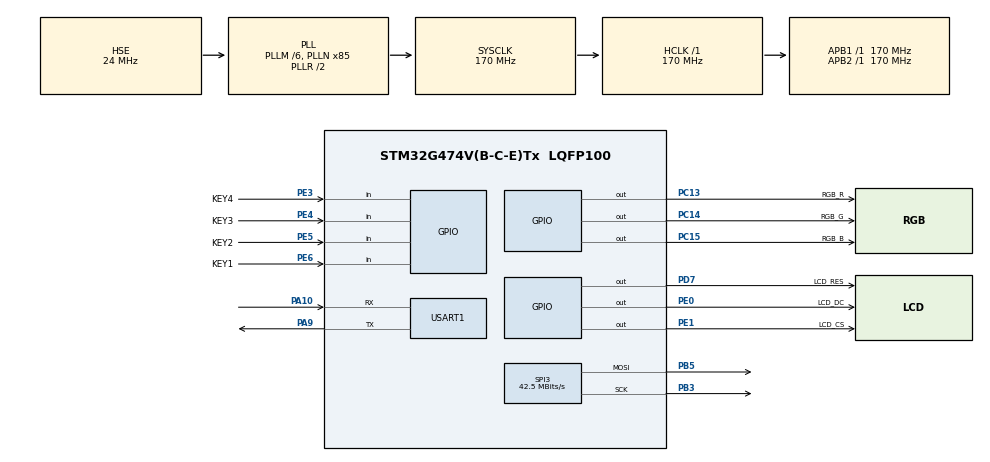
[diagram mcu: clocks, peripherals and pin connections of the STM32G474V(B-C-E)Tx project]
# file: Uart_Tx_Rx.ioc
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Dma.Request0=SPI3_TX
Dma.Request1=USART1_RX
Dma.Request2=USART1_TX
Dma.SPI3_TX.0.Direction=DMA_MEMORY_TO_PERIPH
Dma.SPI3_TX.0.EventEnable=DISABLE
Dma.SPI3_TX.0.Instance=DMA1_Channel3
Dma.SPI3_TX.0.MemDataAlignment=DMA_MDATAALIGN_BYTE
Dma.SPI3_TX.0.MemInc=DMA_MINC_ENABLE
Dma.SPI3_TX.0.Mode=DMA_NORMAL
Dma.SPI3_TX.0.PeriphDataAlignment=DMA_PDATAALIGN_BYTE
Dma.SPI3_TX.0.PeriphInc=DMA_PINC_DISABLE
Dma.SPI3_TX.0.Polarity=HAL_DMAMUX_REQ_GEN_RISING
Dma.SPI3_TX.0.Priority=DMA_PRIORITY_LOW
Dma.SPI3_TX.0.RequestNumber=1
Dma.SPI3_TX.0.SignalID=NONE
Dma.SPI3_TX.0.SyncEnable=DISABLE
Dma.SPI3_TX.0.SyncPolarity=HAL_DMAMUX_SYNC_NO_EVENT
Dma.SPI3_TX.0.SyncRequestNumber=1
Dma.SPI3_TX.0.SyncSignalID=NONE
Dma.USART1_RX.1.Direction=DMA_PERIPH_TO_MEMORY
Dma.USART1_RX.1.EventEnable=DISABLE
Dma.USART1_RX.1.Instance=DMA1_Channel1
Dma.USART1_RX.1.MemDataAlignment=DMA_MDATAALIGN_BYTE
Dma.USART1_RX.1.MemInc=DMA_MINC_ENABLE
Dma.USART1_RX.1.Mode=DMA_NORMAL
Dma.USART1_RX.1.PeriphDataAlignment=DMA_PDATAALIGN_BYTE
Dma.USART1_RX.1.PeriphInc=DMA_PINC_DISABLE
Dma.USART1_RX.1.Polarity=HAL_DMAMUX_REQ_GEN_RISING
Dma.USART1_RX.1.Priority=DMA_PRIORITY_LOW
Dma.USART1_RX.1.RequestNumber=1
Dma.USART1_RX.1.SignalID=NONE
Dma.USART1_RX.1.SyncEnable=DISABLE
Dma.USART1_RX.1.SyncPolarity=HAL_DMAMUX_SYNC_NO_EVENT
Dma.USART1_RX.1.SyncRequestNumber=1
Dma.USART1_RX.1.SyncSignalID=NONE
Dma.USART1_TX.2.Direction=DMA_MEMORY_TO_PERIPH
Dma.USART1_TX.2.EventEnable=DISABLE
Dma.USART1_TX.2.Instance=DMA1_Channel2
Dma.USART1_TX.2.MemDataAlignment=DMA_MDATAALIGN_BYTE
Dma.USART1_TX.2.MemInc=DMA_MINC_ENABLE
Dma.USART1_TX.2.Mode=DMA_NORMAL
Dma.USART1_TX.2.PeriphDataAlignment=DMA_PDATAALIGN_BYTE
Dma.USART1_TX.2.PeriphInc=DMA_PINC_DISABLE
Dma.USART1_TX.2.Polarity=HAL_DMAMUX_REQ_GEN_RISING
Dma.USART1_TX.2.Priority=DMA_PRIORITY_LOW
Dma.USART1_TX.2.RequestNumber=1
Dma.USART1_TX.2.SignalID=NONE
Dma.USART1_TX.2.SyncEnable=DISABLE
Dma.USART1_TX.2.SyncPolarity=HAL_DMAMUX_SYNC_NO_EVENT
Dma.USART1_TX.2.SyncRequestNumber=1
Dma.USART1_TX.2.SyncSignalID=NONE
Mcu.Family=STM32G4
Mcu.Name=STM32G474V(B-C-E)Tx
Mcu.Package=LQFP100
NVIC.DMA1_Channel1_IRQn=true\:0\:0\:false\:false\:true\:false\:true\:true
NVIC.DMA1_Channel2_IRQn=true\:0\:0\:false\:false\:true\:false\:true\:true
NVIC.DMA1_Channel3_IRQn=true\:0\:0\:false\:false\:true\:false\:true\:true
NVIC.PriorityGroup=NVIC_PRIORITYGROUP_4
NVIC.TIM7_DAC_IRQn=true\:0\:0\:false\:false\:true\:true\:true\:true
NVIC.USART1_IRQn=true\:0\:0\:false\:false\:true\:true\:true\:true
PA10.Mode=Asynchronous
PA10.Signal=USART1_RX
PA13.Mode=Serial_Wire
PA13.Signal=SYS_JTMS-SWDIO
PA14.Mode=Serial_Wire
PA14.Signal=SYS_JTCK-SWCLK
PA9.Mode=Asynchronous
PA9.Signal=USART1_TX
PB3.GPIO_Speed=GPIO_SPEED_FREQ_HIGH
PB3.Mode=TX_Only_Simplex_Unidirect_Master
PB3.Signal=SPI3_SCK
PB5.GPIO_Speed=GPIO_SPEED_FREQ_HIGH
PB5.Mode=TX_Only_Simplex_Unidirect_Master
PB5.Signal=SPI3_MOSI
PC13.GPIO_Label=RGB_R
PC13.PinState=GPIO_PIN_SET
PC13.Signal=GPIO_Output
PC14-OSC32_IN.GPIO_Label=RGB_G
PC14-OSC32_IN.PinState=GPIO_PIN_SET
PC14-OSC32_IN.Signal=GPIO_Output
PC15-OSC32_OUT.GPIO_Label=RGB_B
PC15-OSC32_OUT.PinState=GPIO_PIN_SET
PC15-OSC32_OUT.Signal=GPIO_Output
PD7.GPIO_Label=LCD_RES
PD7.GPIO_Speed=GPIO_SPEED_FREQ_HIGH
PD7.Signal=GPIO_Output
PE0.GPIO_Label=LCD_DC
PE0.GPIO_Speed=GPIO_SPEED_FREQ_HIGH
PE0.Signal=GPIO_Output
PE1.GPIO_Label=LCD_CS
PE1.GPIO_Speed=GPIO_SPEED_FREQ_HIGH
PE1.Signal=GPIO_Output
PE3.GPIO_Label=KEY4
PE3.Signal=GPIO_Input
PE4.GPIO_Label=KEY3
PE4.Signal=GPIO_Input
PE5.GPIO_Label=KEY2
PE5.Signal=GPIO_Input
PE6.GPIO_Label=KEY1
PE6.Signal=GPIO_Input
PF0-OSC_IN.Mode=HSE-External-Oscillator
PF0-OSC_IN.Signal=RCC_OSC_IN
PF1-OSC_OUT.Mode=HSE-External-Oscillator
PF1-OSC_OUT.Signal=RCC_OSC_OUT
ProjectManager.HeapSize=0x200
ProjectManager.StackSize=0x1000
ProjectManager.TargetToolchain=MDK-ARM V5.32
RCC.ADC12Freq_Value=170000000
RCC.ADC345Freq_Value=170000000
RCC.AHBFreq_Value=170000000
RCC.APB1Freq_Value=170000000
RCC.APB1TimFreq_Value=170000000
RCC.APB2Freq_Value=170000000
RCC.APB2TimFreq_Value=170000000
RCC.CK48CLockSelection=RCC_USBCLKSOURCE_HSI48
RCC.CortexFreq_Value=170000000
RCC.EXTERNAL_CLOCK_VALUE=12288000
RCC.HCLKFreq_Value=170000000
RCC.HSE_VALUE=24000000
RCC.HSI48_VALUE=48000000
RCC.HSI_VALUE=16000000
RCC.LSE_VALUE=32768
RCC.PLLM=RCC_PLLM_DIV6
RCC.PLLN=85
RCC.PLLSourceVirtual=RCC_PLLSOURCE_HSE
RCC.SYSCLKFreq_VALUE=170000000
RCC.SYSCLKSource=RCC_SYSCLKSOURCE_PLLCLK
RCC.USBFreq_Value=48000000
RCC.VCOOutputFreq_Value=340000000
SPI3.BaudRatePrescaler=SPI_BAUDRATEPRESCALER_4
SPI3.CLKPolarity=SPI_POLARITY_HIGH
SPI3.CalculateBaudRate=42.5 MBits/s
SPI3.DataSize=SPI_DATASIZE_8BIT
SPI3.Direction=SPI_DIRECTION_2LINES
SPI3.Mode=SPI_MODE_MASTER
SPI3.VirtualType=VM_MASTER
TIM7.PeriodNoDither=10000-1
TIM7.Prescaler=168-1
USART1.VirtualMode-Asynchronous=VM_ASYNC
VP_SYS_VS_DBSignals.Mode=DisableDeadBatterySignals
VP_SYS_V_VREFBUF.Mode=ExternalMode
VP_TIM7_VS_ClockSourceINT.Mode=Enable_Timer
board=custom

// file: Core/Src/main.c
/* USER CODE BEGIN Header */
/**
  ******************************************************************************
  * @file           : main.c
  * @brief          : Main program body
  ******************************************************************************
  * @attention
  *
  * Copyright (c) 2024 STMicroelectronics.
  * All rights reserved.
  *
  * This software is licensed under terms that can be found in the LICENSE file
  * in the root directory of this software component.
  * If no LICENSE file comes with this software, it is provided AS-IS.
  *
  ******************************************************************************
  */
/* USER CODE END Header */
#include "main.h"
#include "dma.h"
#include "spi.h"
#include "tim.h"
#include "usart.h"
#include "gpio.h"

void SystemClock_Config(void);

/* USER CODE BEGIN 0 */
#include "string.h"
#include "stdio.h"
uint8_t TX[32];
uint8_t RX[32];
/* USER CODE END 0 */

int main(void)
{

  /* MCU Configuration--------------------------------------------------------*/

  /* Reset of all peripherals, Initializes the Flash interface and the Systick. */
  HAL_Init();

  /* Configure the system clock */
  SystemClock_Config();

  /* Initialize all configured peripherals */
  MX_GPIO_Init();
  MX_DMA_Init();
  MX_USART1_UART_Init();
  MX_SPI3_Init();
  MX_TIM7_Init();
  /* USER CODE BEGIN 2 */

	HAL_UARTEx_ReceiveToIdle_DMA(&huart1,RX, 32);

	uint16_t adcValue=199;
	uint8_t txbuffer[32];
	sprintf(txbuffer,"adc:%d\n",adcValue);
	HAL_UART_Transmit(&huart1,txbuffer,strlen(txbuffer),10);
  /* USER CODE END 2 */

  /* Infinite loop */
  /* USER CODE BEGIN WHILE */
  while (1)
  {
		HAL_GPIO_TogglePin(GPIOC,GPIO_PIN_13);

		HAL_Delay(1);
		sprintf(TX,"system start\n");
		HAL_UART_Transmit_DMA(&huart1,TX,strlen(TX));
		HAL_Delay(300);
    /* USER CODE END WHILE */

  }
}

void SystemClock_Config(void)
{
  RCC_OscInitTypeDef RCC_OscInitStruct = {0};
  RCC_ClkInitTypeDef RCC_ClkInitStruct = {0};

  /** Configure the main internal regulator output voltage
  */
  HAL_PWREx_ControlVoltageScaling(PWR_REGULATOR_VOLTAGE_SCALE1_BOOST);

  /** Initializes the RCC Oscillators according to the specified parameters
  * in the RCC_OscInitTypeDef structure.
  */
  RCC_OscInitStruct.OscillatorType = RCC_OSCILLATORTYPE_HSE;
  RCC_OscInitStruct.HSEState = RCC_HSE_ON;
  RCC_OscInitStruct.PLL.PLLState = RCC_PLL_ON;
  RCC_OscInitStruct.PLL.PLLSource = RCC_PLLSOURCE_HSE;
  RCC_OscInitStruct.PLL.PLLM = RCC_PLLM_DIV6;
  RCC_OscInitStruct.PLL.PLLN = 85;
  RCC_OscInitStruct.PLL.PLLP = RCC_PLLP_DIV2;
  RCC_OscInitStruct.PLL.PLLQ = RCC_PLLQ_DIV2;
  RCC_OscInitStruct.PLL.PLLR = RCC_PLLR_DIV2;
  if (HAL_RCC_OscConfig(&RCC_OscInitStruct) != HAL_OK)
  {
    Error_Handler();
  }

  /** Initializes the CPU, AHB and APB buses clocks
  */
  RCC_ClkInitStruct.ClockType = RCC_CLOCKTYPE_HCLK|RCC_CLOCKTYPE_SYSCLK
                              |RCC_CLOCKTYPE_PCLK1|RCC_CLOCKTYPE_PCLK2;
  RCC_ClkInitStruct.SYSCLKSource = RCC_SYSCLKSOURCE_PLLCLK;
  RCC_ClkInitStruct.AHBCLKDivider = RCC_SYSCLK_DIV1;
  RCC_ClkInitStruct.APB1CLKDivider = RCC_HCLK_DIV1;
  RCC_ClkInitStruct.APB2CLKDivider = RCC_HCLK_DIV1;

  if (HAL_RCC_ClockConfig(&RCC_ClkInitStruct, FLASH_LATENCY_4) != HAL_OK)
  {
    Error_Handler();
  }
}

/* USER CODE BEGIN 4 */
void HAL_UARTEx_RxEventCallback(UART_HandleTypeDef *huart, uint16_t Size){
		if(huart==&huart1){
			HAL_UART_Transmit(&huart1,RX,Size,10);
			HAL_UARTEx_ReceiveToIdle_DMA(&huart1,RX, 32);
		}
}
/* USER CODE END 4 */

void Error_Handler(void)
{
  __disable_irq();
  while (1)
  {
  }
}
